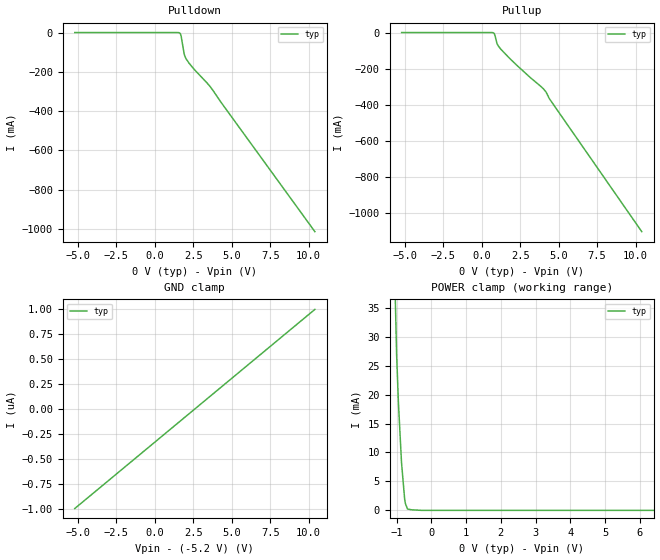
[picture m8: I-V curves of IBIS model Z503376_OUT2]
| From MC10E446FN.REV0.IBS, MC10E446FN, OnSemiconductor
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| (C) COPYRIGHT 1993-2000
| MENTOR GRAPHICS CORPORATION
| ICX STANDARD LIBRARY, ICX PROJECT MODELING,
| ICX CUSTOM MODELING, ICX VENDOR MODEL
| ALL RIGHTS RESERVED.
| THE FOLLOWING ARE TRADEMARKS OR SERVICE MARKS OF
| MENTOR GRAPHICS CORPORATION:ICX (R), ICX STANDARD
| LIBRARY(R), ICX PROJECT MODELING(R), ICX CUSTOM
| MODELING(R), qualityIBIS(TM), MODELVIEWER(TM),
| AND MODELEDITOR(TM)
| ALL COPIES OF SOFTWARE, INCLUDING BUT NOT LIMITED TO
| ANY MODIFICATIONS, ENHANCEMENTS OR DERIVATIVE WORKS,
| MUST CONTAIN ALL MENTOR GRAPHICS CORPORATION'S
| NOTICES AND LEGENDS, INCLUDING THOSE EMBEDDED IN
| SOFTWARE AND THOSE AFFIXED TO SOFTWARE MEDIUM
| AND CONTAINER, AS RECEIVED FROM MENTOR GRAPHICS
| CORPORATION.
| Model Application Version 1.89 2/18/99.
[Model] Z503376_OUT2
Model_type Output_ECL
Vref=-2.000V
Rref=50.00ohms
Cref=0.000F
Vmeas=-1.320V
C_comp 8.000pF NA NA
| variable typ   min   max
[Voltage Range] -5.200V NA NA
[POWER Clamp Reference] 0.000V NA NA
[Pullup Reference] 0.000V NA NA
[Pulldown Reference] 0.000V NA NA
[GND Clamp Reference] -5.200V NA NA
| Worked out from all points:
|   POWER clamp passes 1 mA (typ) near -0.73 V on its own axis
[GND Clamp]
-5.2V     -1uA       NA         NA
10.4V     1uA        NA         NA
[Pulldown]
-5.2V     50.56uA    NA         NA
1.425V    -13.26uA   NA         NA
1.641V    -3.881mA   NA         NA
1.719V    -21.78mA   NA         NA
1.904V    -107.8mA   NA         NA
2.033V    -134.1mA   NA         NA
2.573V    -188.9mA   NA         NA
3.583V    -273.9mA   NA         NA
4.288V    -353.7mA   NA         NA
10.4V     -1.014A    NA         NA
[Pullup]
-5.2V     1.049uA    NA         NA
783.7mV   -2.697mA   NA         NA
866.5mV   -16.97mA   NA         NA
996.2mV   -61.6mA    NA         NA
1.241V    -91.98mA   NA         NA
2.32V     -184.2mA   NA         NA
3.853V    -298.8mA   NA         NA
4.18V     -328.8mA   NA         NA
4.396V    -366mA     NA         NA
10.4V     -1.102A    NA         NA
[POWER Clamp]
-5.2V     1.918A     NA         NA
-1.266V   112.8mA    NA         NA
-1.109V   55.13mA    NA         NA
-999.8mV  26.95mA    NA         NA
-948.8mV  18.75mA    NA         NA
-859.2mV  8.307mA    NA         NA
-768mV    1.919mA    NA         NA
-749.7mV  1.242mA    NA         NA
-688.2mV  238.1uA    NA         NA
-571.3mV  100.8uA    NA         NA
-285.7mV  0A         NA         NA
10.4V     0A         NA         NA
[Ramp]
| variable typ min max
dV/dt_r 467.1m/586.7p NA NA
dV/dt_f 467.1m/478.1p NA NA
R_load = 50.00Ohms
